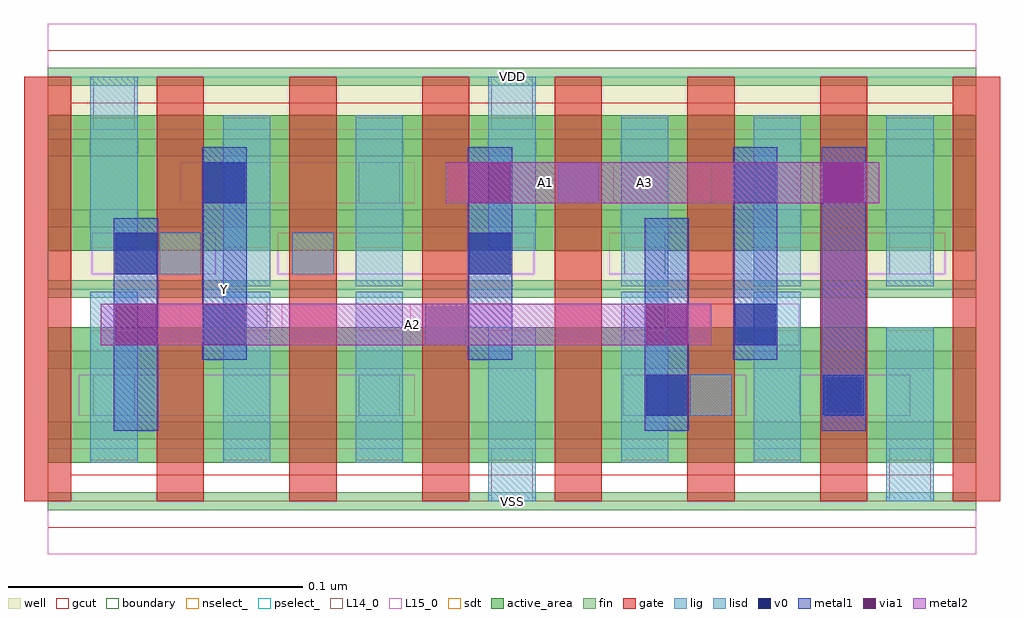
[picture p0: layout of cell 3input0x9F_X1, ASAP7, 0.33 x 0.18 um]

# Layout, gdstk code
import gdstk
lib = gdstk.Library(unit=1e-6, precision=2.5e-10)
def R(c, l, rs):  # rectangles x0, y0, x1, y1
    for r in rs: c.add(gdstk.rectangle(r[:2], r[2:], *l))
def A(c, l, x, y, w, h, nx, ny, dx, dy):  # array of equal rectangles
    R(c, l, [(x+i*dx, y+j*dy, x+i*dx+w, y+j*dy+h) for i in range(nx) for j in range(ny)])
def P(c, l, *ps):  # polygons
    for p in ps: c.add(gdstk.Polygon(p, *l))
well = (1, 0)
fin = (2, 0)
gate = (7, 0)
gcut = (10, 0)
active_area = (11, 0)
nselect_ = (12, 0)
pselect_ = (13, 0)
L14_0 = (14, 0)
L15_0 = (15, 0)
lig = (16, 0)
lisd = (17, 0)
v0 = (18, 0)
metal1 = (19, 0)
metal2 = (20, 0)
via1 = (21, 0)
sdt = (88, 0)
boundary = (100, 0)

c_3input0x9f_x1 = lib.new_cell('3input0x9F_X1')
R(c_3input0x9f_x1, well, [(0,0.072,0.315,0.144)])
A(c_3input0x9f_x1, fin, 0, -0.003, 0.315, 0.006, 1, 7, 0, 0.024)
A(c_3input0x9f_x1, gate, -0.008, 0, 0.016, 0.144, 8, 1, 0.045, 0)
P(c_3input0x9f_x1, gcut, [(0,-0.009),(0,0),(-0.008,0),(-0.008,0.135),(0.008,0.135),(0.008,0.009),(0.307,0.009),(0.307,0.135),(-0.008,0.135),(-0.008,0.144),(0,0.144),(0,0.153),(0.315,0.153),(0.315,0.144),(0.323,0.144),(0.323,0),(0.315,0),(0.315,-0.009)])
R(c_3input0x9f_x1, active_area, [(0,0.013,0.315,0.059), (0,0.085,0.315,0.131)])
R(c_3input0x9f_x1, nselect_, [(0,0,0.315,0.072)])
R(c_3input0x9f_x1, pselect_, [(0,0.072,0.315,0.144)])
A(c_3input0x9f_x1, L14_0, 0.0605, 0.053, 0.014, 0.014, 3, 1, 0.0675, 0)
A(c_3input0x9f_x1, L14_0, 0.1055, 0.101, 0.014, 0.014, 3, 1, 0.0675, 0)
R(c_3input0x9f_x1, L14_0, [(0.1505,0,0.1645,0.018), (0.2855,0,0.2995,0.018), (0.0155,0.029,0.0295,0.043), (0.1055,0.029,0.1195,0.043), (0.218,0.029,0.232,0.043), (0.263,0.029,0.277,0.043), (0.038,0.077,0.052,0.091), (0.083,0.077,0.097,0.091), (0.1955,0.077,0.2095,0.091), (0.2855,0.077,0.2995,0.091), (0.0155,0.126,0.0295,0.144), (0.1505,0.126,0.1645,0.144)])
R(c_3input0x9f_x1, L15_0, [(0,-0.018,0.315,0.018), (0.0105,0.029,0.1245,0.043), (0.195,0.029,0.237,0.043), (0.255,0.029,0.2925,0.043), (0.045,0.053,0.0795,0.067), (0.123,0.053,0.255,0.067), (0.015,0.077,0.057,0.091), (0.078,0.077,0.165,0.091), (0.1905,0.077,0.3045,0.091), (0.045,0.101,0.1245,0.115), (0.1575,0.101,0.192,0.115), (0.225,0.101,0.2595,0.115), (0,0.126,0.315,0.162)])
R(c_3input0x9f_x1, lig, [(0.218,0.029,0.232,0.043), (0.263,0.029,0.277,0.043), (0.128,0.053,0.142,0.067), (0.038,0.077,0.052,0.091), (0.083,0.077,0.097,0.091), (0.173,0.101,0.187,0.115)])
A(c_3input0x9f_x1, lisd, 0.0145, 0.013, 0.016, 0.058, 3, 1, 0.045, 0)
A(c_3input0x9f_x1, lisd, 0.1945, 0.073, 0.016, 0.058, 3, 1, 0.045, 0)
R(c_3input0x9f_x1, lisd, [(0.1495,0,0.1655,0.059), (0.2845,0,0.3005,0.059), (0.1945,0.013,0.2105,0.071), (0.2395,0.013,0.2555,0.071), (0.0595,0.073,0.0755,0.131), (0.1045,0.073,0.1205,0.131), (0.0145,0.085,0.0305,0.144), (0.1495,0.085,0.1655,0.144)])
R(c_3input0x9f_x1, v0, [(0.203,0.029,0.217,0.043), (0.263,0.029,0.277,0.043), (0.053,0.053,0.067,0.067), (0.233,0.053,0.247,0.067), (0.023,0.077,0.037,0.091), (0.143,0.077,0.157,0.091), (0.053,0.101,0.067,0.115), (0.233,0.101,0.247,0.115)])
A(c_3input0x9f_x1, metal1, 0.0525, 0.048, 0.015, 0.072, 3, 1, 0.09, 0)
R(c_3input0x9f_x1, metal1, [(0.0225,0.024,0.0375,0.096), (0.2025,0.024,0.2175,0.096), (0.2625,0.024,0.2775,0.12)])
R(c_3input0x9f_x1, metal2, [(0.018,0.053,0.225,0.067), (0.135,0.101,0.282,0.115)])
R(c_3input0x9f_x1, via1, [(0.023,0.053,0.037,0.067), (0.203,0.053,0.217,0.067), (0.143,0.101,0.157,0.115), (0.263,0.101,0.277,0.115)])
A(c_3input0x9f_x1, sdt, 0.0145, 0.014, 0.016, 0.044, 7, 2, 0.045, 0.072)
R(c_3input0x9f_x1, boundary, [(0,0,0.315,0.144)])
c_3input0x9f_x1.add(gdstk.Label('VSS', (0.1575,0), layer=15, texttype=251))
c_3input0x9f_x1.add(gdstk.Label('VDD', (0.1575,0.144), layer=15, texttype=251))
c_3input0x9f_x1.add(gdstk.Label('A1', (0.1688,0.108), layer=15, texttype=251))
c_3input0x9f_x1.add(gdstk.Label('VSS', (0.1575,0), layer=15, texttype=251))
c_3input0x9f_x1.add(gdstk.Label('VDD', (0.1575,0.144), layer=15, texttype=251))
c_3input0x9f_x1.add(gdstk.Label('VSS', (0.1575,0), layer=15, texttype=251))
c_3input0x9f_x1.add(gdstk.Label('VDD', (0.1575,0.144), layer=15, texttype=251))
c_3input0x9f_x1.add(gdstk.Label('VSS', (0.1575,0), layer=15, texttype=251))
c_3input0x9f_x1.add(gdstk.Label('VDD', (0.1575,0.144), layer=15, texttype=251))
c_3input0x9f_x1.add(gdstk.Label('A2', (0.1237,0.06), layer=20, texttype=251))
c_3input0x9f_x1.add(gdstk.Label('A3', (0.2025,0.108), layer=20, texttype=251))
c_3input0x9f_x1.add(gdstk.Label('VSS', (0.1575,0), layer=3, texttype=251))
c_3input0x9f_x1.add(gdstk.Label('VSS', (0.1575,0), layer=3, texttype=251))
c_3input0x9f_x1.add(gdstk.Label('VSS', (0.1575,0), layer=3, texttype=251))
c_3input0x9f_x1.add(gdstk.Label('VSS', (0.1575,0), layer=3, texttype=251))
c_3input0x9f_x1.add(gdstk.Label('VDD', (0.1575,0.144), layer=1, texttype=251))
c_3input0x9f_x1.add(gdstk.Label('VDD', (0.1575,0.144), layer=1, texttype=251))
c_3input0x9f_x1.add(gdstk.Label('VDD', (0.1575,0.144), layer=1, texttype=251))
c_3input0x9f_x1.add(gdstk.Label('VDD', (0.1575,0.144), layer=1, texttype=251))
c_3input0x9f_x1.add(gdstk.Label('Y', (0.06,0.072), layer=19, texttype=251))

lib.write_gds('3input0x9F_X1.gds')
